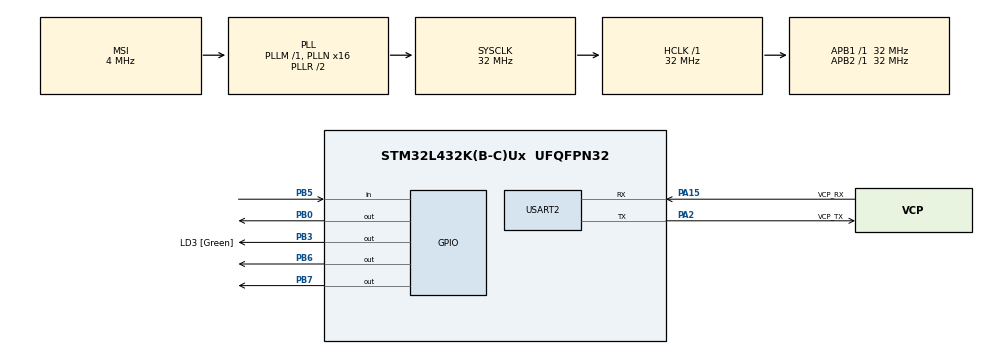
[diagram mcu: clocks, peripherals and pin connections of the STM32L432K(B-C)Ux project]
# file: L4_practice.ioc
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Mcu.Family=STM32L4
Mcu.Name=STM32L432K(B-C)Ux
Mcu.Package=UFQFPN32
NVIC.PriorityGroup=NVIC_PRIORITYGROUP_4
PA0.GPIO_Label=MCO [High speed clock in]
PA0.Mode=HSE-External-Clock-Source-for-LittleOrca
PA0.Signal=RCC_CK_IN
PA13\ (JTMS-SWDIO).GPIO_Label=SWDIO
PA13\ (JTMS-SWDIO).Mode=Serial_Wire
PA13\ (JTMS-SWDIO).Signal=SYS_JTMS-SWDIO
PA14\ (JTCK-SWCLK).GPIO_Label=SWCLK
PA14\ (JTCK-SWCLK).Mode=Serial_Wire
PA14\ (JTCK-SWCLK).Signal=SYS_JTCK-SWCLK
PA15\ (JTDI).GPIO_Label=VCP_RX
PA15\ (JTDI).Mode=Asynchronous
PA15\ (JTDI).Signal=USART2_RX
PA2.GPIO_Label=VCP_TX
PA2.Mode=Asynchronous
PA2.Signal=USART2_TX
PB0.Signal=GPIO_Output
PB3\ (JTDO-TRACESWO).GPIO_Label=LD3 [Green]
PB3\ (JTDO-TRACESWO).Signal=GPIO_Output
PB5.Signal=GPIO_Input
PB6.Signal=GPIO_Output
PB7.Signal=GPIO_Output
PC14-OSC32_IN\ (PC14).Mode=LSE-External-Oscillator
PC14-OSC32_IN\ (PC14).Signal=RCC_OSC32_IN
PC15-OSC32_OUT\ (PC15).Mode=LSE-External-Oscillator
PC15-OSC32_OUT\ (PC15).Signal=RCC_OSC32_OUT
ProjectManager.HeapSize=0x200
ProjectManager.StackSize=0x400
ProjectManager.TargetToolchain=STM32CubeIDE
RCC.AHBFreq_Value=32000000
RCC.APB1Freq_Value=32000000
RCC.APB1TimFreq_Value=32000000
RCC.APB2Freq_Value=32000000
RCC.APB2TimFreq_Value=32000000
RCC.CortexFreq_Value=32000000
RCC.HCLKFreq_Value=32000000
RCC.HSE_VALUE=8000000
RCC.HSI16_VALUE=16000000
RCC.HSI48_VALUE=48000000
RCC.HSI_VALUE=16000000
RCC.MSI_VALUE=4000000
RCC.PLLMUL=RCC_PLLMUL_4
RCC.PLLN=16
RCC.SYSCLKFreq_VALUE=32000000
RCC.SYSCLKSource=RCC_SYSCLKSOURCE_PLLCLK
RCC.VCOOutputFreq_Value=64000000
USART2.VirtualMode-Asynchronous=VM_ASYNC
board=NUCLEO-L432KC

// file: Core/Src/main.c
/* USER CODE BEGIN Header */
/**
  ******************************************************************************
  * @file           : main.c
  * @brief          : Main program body
  ******************************************************************************
  * @attention
  *
  * Copyright (c) 2025 STMicroelectronics.
  * All rights reserved.
  *
  * This software is licensed under terms that can be found in the LICENSE file
  * in the root directory of this software component.
  * If no LICENSE file comes with this software, it is provided AS-IS.
  *
  ******************************************************************************
  */
/* USER CODE END Header */
#include "main.h"

/* USER CODE BEGIN PD */
#define DELAY 200
/* USER CODE END PD */

UART_HandleTypeDef huart2;

void SystemClock_Config(void);
static void MX_GPIO_Init(void);
static void MX_USART2_UART_Init(void);

int main(void)
{

  /* MCU Configuration--------------------------------------------------------*/

  /* Reset of all peripherals, Initializes the Flash interface and the Systick. */
  HAL_Init();

  /* Configure the system clock */
  SystemClock_Config();

  /* Initialize all configured peripherals */
  MX_GPIO_Init();
  MX_USART2_UART_Init();
  /* USER CODE BEGIN 2 */
  int contador = 0;
  int button_pressed = 0;
  int last_contador = -1;
  uint8_t B1[]=" Botón presionado 1 veces \n\r";
  uint8_t B2[]=" Botón presionado 2 veces \n\r";
  uint8_t B3[]=" Botón presionado 3 veces \n\r";
  uint8_t B4[]=" Botón presionado 4 veces \n\r";
  uint8_t B5[]=" Botón presionado 5 veces \n\r";
  uint8_t B6[]=" Botón presionado 6 veces \n\r";
  uint8_t L1[]=" LED1 encendido \n\r";
  uint8_t L2[]=" LED2 encendido \n\r";
  uint8_t L3[]=" LED3 encendido \n\r";
  uint8_t L1o[]=" LED1 apagado \n\r";
  uint8_t L2o[]=" LED2 apagado \n\r";
  uint8_t L3o[]=" LED3 apagado \n\r";
  /* USER CODE END 2 */

  /* Infinite loop */
  /* USER CODE BEGIN WHILE */
  while (1)
  {
	   if (HAL_GPIO_ReadPin(GPIOC, GPIO_PIN_5) == GPIO_PIN_RESET) {
	        if (!button_pressed) {
	            contador++;
	            HAL_Delay(DELAY);
	            if (contador > 5) {
	                contador = 0;
	            }
	            button_pressed = 1;
	        }
	    } else {
	        button_pressed = 0;
	    }

	    // Solo ejecutar si hay un cambio en el contador
	    if (contador != last_contador) {
	        last_contador = contador; // Actualiza el último estado impreso

	        switch (contador) {
	            case 0:
	                HAL_GPIO_WritePin(GPIOB,GPIO_PIN_6 , GPIO_PIN_SET);
	                HAL_UART_Transmit(&huart2, B1, strlen(B1), HAL_MAX_DELAY);
	                HAL_UART_Transmit(&huart2, L1, strlen(L1), HAL_MAX_DELAY);
	                break;
	            case 1:
	                HAL_GPIO_WritePin(GPIOB, GPIO_PIN_7, GPIO_PIN_SET);
	                HAL_UART_Transmit(&huart2, B2, strlen(B2), HAL_MAX_DELAY);
	                HAL_UART_Transmit(&huart2, L2, strlen(L2), HAL_MAX_DELAY);
	                break;
	            case 2:
	                HAL_GPIO_WritePin(GPIOB, GPIO_PIN_0, GPIO_PIN_SET);
	                HAL_UART_Transmit(&huart2, B3, strlen(B3), HAL_MAX_DELAY);
	                HAL_UART_Transmit(&huart2, L3, strlen(L3), HAL_MAX_DELAY);
	                break;
	            case 3:
	                HAL_GPIO_WritePin(GPIOB, GPIO_PIN_0, GPIO_PIN_RESET);
	                HAL_UART_Transmit(&huart2, B4, strlen(B4), HAL_MAX_DELAY);
	                HAL_UART_Transmit(&huart2, L3o, strlen(L3o), HAL_MAX_DELAY);
	                break;
	            case 4:
	                HAL_GPIO_WritePin(GPIOB, GPIO_PIN_7, GPIO_PIN_RESET);
	                HAL_UART_Transmit(&huart2, B5, strlen(B5), HAL_MAX_DELAY);
	                HAL_UART_Transmit(&huart2, L2o, strlen(L2o), HAL_MAX_DELAY);
	                break;
	            case 5:
	                HAL_GPIO_WritePin(GPIOB, GPIO_PIN_6, GPIO_PIN_RESET);
	                HAL_UART_Transmit(&huart2, B6, strlen(B6), HAL_MAX_DELAY);
	                HAL_UART_Transmit(&huart2, L1o, strlen(L1o), HAL_MAX_DELAY);
	                break;
	        }
	    }

    /* USER CODE END WHILE */

  }
}

void SystemClock_Config(void)
{
  RCC_OscInitTypeDef RCC_OscInitStruct = {0};
  RCC_ClkInitTypeDef RCC_ClkInitStruct = {0};

  /** Configure the main internal regulator output voltage
  */
  if (HAL_PWREx_ControlVoltageScaling(PWR_REGULATOR_VOLTAGE_SCALE1) != HAL_OK)
  {
    Error_Handler();
  }

  /** Configure LSE Drive Capability
  */
  HAL_PWR_EnableBkUpAccess();
  __HAL_RCC_LSEDRIVE_CONFIG(RCC_LSEDRIVE_LOW);

  /** Initializes the RCC Oscillators according to the specified parameters
  * in the RCC_OscInitTypeDef structure.
  */
  RCC_OscInitStruct.OscillatorType = RCC_OSCILLATORTYPE_LSE|RCC_OSCILLATORTYPE_MSI;
  RCC_OscInitStruct.LSEState = RCC_LSE_ON;
  RCC_OscInitStruct.MSIState = RCC_MSI_ON;
  RCC_OscInitStruct.MSICalibrationValue = 0;
  RCC_OscInitStruct.MSIClockRange = RCC_MSIRANGE_6;
  RCC_OscInitStruct.PLL.PLLState = RCC_PLL_ON;
  RCC_OscInitStruct.PLL.PLLSource = RCC_PLLSOURCE_MSI;
  RCC_OscInitStruct.PLL.PLLM = 1;
  RCC_OscInitStruct.PLL.PLLN = 16;
  RCC_OscInitStruct.PLL.PLLP = RCC_PLLP_DIV7;
  RCC_OscInitStruct.PLL.PLLQ = RCC_PLLQ_DIV2;
  RCC_OscInitStruct.PLL.PLLR = RCC_PLLR_DIV2;
  if (HAL_RCC_OscConfig(&RCC_OscInitStruct) != HAL_OK)
  {
    Error_Handler();
  }

  /** Initializes the CPU, AHB and APB buses clocks
  */
  RCC_ClkInitStruct.ClockType = RCC_CLOCKTYPE_HCLK|RCC_CLOCKTYPE_SYSCLK
                              |RCC_CLOCKTYPE_PCLK1|RCC_CLOCKTYPE_PCLK2;
  RCC_ClkInitStruct.SYSCLKSource = RCC_SYSCLKSOURCE_PLLCLK;
  RCC_ClkInitStruct.AHBCLKDivider = RCC_SYSCLK_DIV1;
  RCC_ClkInitStruct.APB1CLKDivider = RCC_HCLK_DIV1;
  RCC_ClkInitStruct.APB2CLKDivider = RCC_HCLK_DIV1;

  if (HAL_RCC_ClockConfig(&RCC_ClkInitStruct, FLASH_LATENCY_1) != HAL_OK)
  {
    Error_Handler();
  }

  /** Enable MSI Auto calibration
  */
  HAL_RCCEx_EnableMSIPLLMode();
}

static void MX_USART2_UART_Init(void)
{

  huart2.Instance = USART2;
  huart2.Init.BaudRate = 115200;
  huart2.Init.WordLength = UART_WORDLENGTH_8B;
  huart2.Init.StopBits = UART_STOPBITS_1;
  huart2.Init.Parity = UART_PARITY_NONE;
  huart2.Init.Mode = UART_MODE_TX_RX;
  huart2.Init.HwFlowCtl = UART_HWCONTROL_NONE;
  huart2.Init.OverSampling = UART_OVERSAMPLING_16;
  huart2.Init.OneBitSampling = UART_ONE_BIT_SAMPLE_DISABLE;
  huart2.AdvancedInit.AdvFeatureInit = UART_ADVFEATURE_NO_INIT;
  if (HAL_UART_Init(&huart2) != HAL_OK)
  {
    Error_Handler();
  }

}

static void MX_GPIO_Init(void)
{
  GPIO_InitTypeDef GPIO_InitStruct = {0};

  /* GPIO Ports Clock Enable */
  __HAL_RCC_GPIOC_CLK_ENABLE();
  __HAL_RCC_GPIOA_CLK_ENABLE();
  __HAL_RCC_GPIOB_CLK_ENABLE();

  /*Configure GPIO pin Output Level */
  HAL_GPIO_WritePin(GPIOB, GPIO_PIN_0|LD3_Pin|GPIO_PIN_6|GPIO_PIN_7, GPIO_PIN_RESET);

  /*Configure GPIO pins : PB0 LD3_Pin PB6 PB7 */
  GPIO_InitStruct.Pin = GPIO_PIN_0|LD3_Pin|GPIO_PIN_6|GPIO_PIN_7;
  GPIO_InitStruct.Mode = GPIO_MODE_OUTPUT_PP;
  GPIO_InitStruct.Pull = GPIO_NOPULL;
  GPIO_InitStruct.Speed = GPIO_SPEED_FREQ_LOW;
  HAL_GPIO_Init(GPIOB, &GPIO_InitStruct);

  /*Configure GPIO pin : PB5 */
  GPIO_InitStruct.Pin = GPIO_PIN_5;
  GPIO_InitStruct.Mode = GPIO_MODE_INPUT;
  GPIO_InitStruct.Pull = GPIO_NOPULL;
  HAL_GPIO_Init(GPIOB, &GPIO_InitStruct);

}

void Error_Handler(void)
{
  __disable_irq();
  while (1)
  {
  }
}
